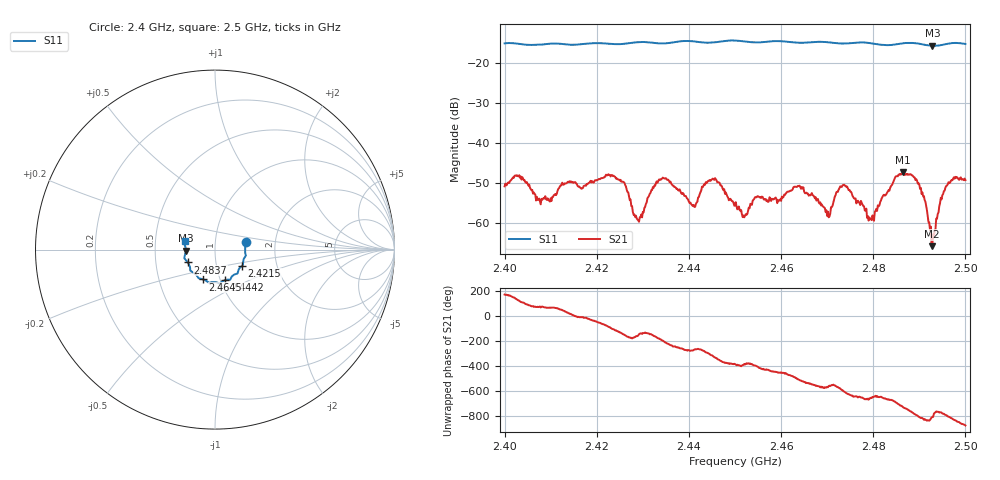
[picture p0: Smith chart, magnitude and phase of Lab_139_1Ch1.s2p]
# Hz S RI R 50
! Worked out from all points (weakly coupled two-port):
!   601 points, 2.4 GHz to 2.5 GHz, reference 50 ohm
!   highest |S21| = -47.34 dB at 2.4865 GHz (marker M1); lowest = -65.8 dB at 2.4927 GHz (marker M2)
!   lowest |S11| = -15.7 dB at 2.4928 GHz (marker M3), VSWR 1.39, Z = 35.9 - j0.372 ohm
!   |S11| at or under -10 dB: start of sweep to end of sweep
!   S12 and S22 are empty: the file has one direction only
!   S11 on the Smith chart (normalised r, x): 2.4 GHz: 1.41, +0.12; 2.4215 GHz: 1.33, -0.25; 2.4442 GHz: 1.05, -0.37; 2.4645 GHz: 0.83, -0.29; 2.4837 GHz: 0.73, -0.11; 2.5 GHz: 0.71, +0.07
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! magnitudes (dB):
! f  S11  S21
! 2.4 GHz  -15.1  -50.8
! 2.4167 GHz  -15.3  -51.4
! 2.4215 GHz  -15.1  -48.7
! 2.4257 GHz  -15.2  -49.6
! 2.4288 GHz  -14.8  -59.1
! 2.4333 GHz  -15.1  -49.5
! 2.441 GHz  -14.6  -55.5
! 2.4442 GHz  -15.0  -49.4
! 2.45 GHz  -14.4  -55.6
! 2.4645 GHz  -15.0  -51.0
! 2.4667 GHz  -14.8  -52.5
! 2.4702 GHz  -14.8  -57.1
! 2.4738 GHz  -15.1  -50.7
! 2.4797 GHz  -15.1  -59.2
! 2.4833 GHz  -15.6  -51.7
! 2.4837 GHz  -15.5  -51.2
! 2.4865 GHz  -15.1  -47.3
! 2.4898 GHz  -15.2  -50.0
! 2.4927 GHz  -15.7  -65.8
! 2.4928 GHz  -15.7  -65.3
! 2.4958 GHz  -15.3  -50.7
! 2.5 GHz  -15.3  -49.2
